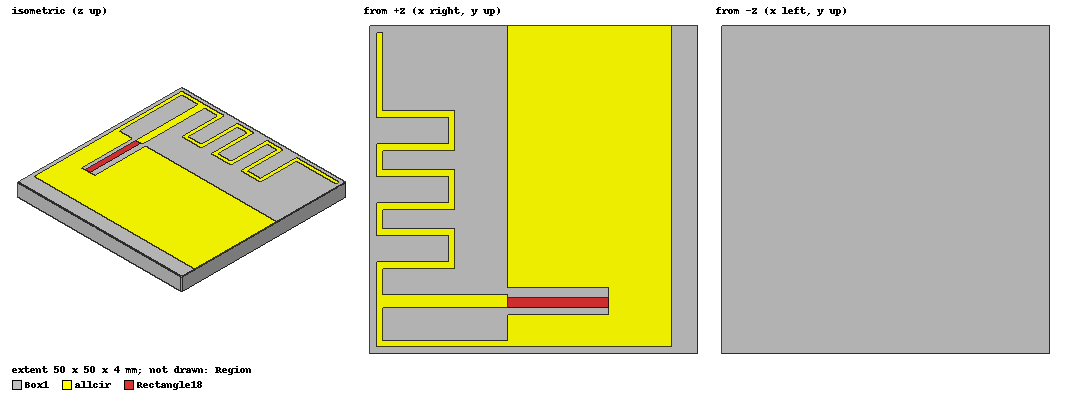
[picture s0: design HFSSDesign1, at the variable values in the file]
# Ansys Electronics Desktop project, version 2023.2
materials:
  vacuum: permittivity=1
  FR4_epoxy: permittivity=4.4 dielectric_loss_tangent=0.02
  air: permittivity=1.0006 permeability=1.0000004

design HFSSDesign1 (HFSS, HFSS Terminal Network, model units mm)
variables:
  W = 1mm
  l1 = 20mm
  l2 = 5mm
  w2 = 2mm
  l3 = 4mm
  l4 = 10mm
  l5 = 6mm
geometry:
  Rectangle1 = rectangle(corner=(0mm, 0mm, 0mm), x_size=l1, y_size=w)
  Rectangle2 = rectangle(corner=(0mm, 1mm, 0mm), x_size=w, y_size=l2)
  Rectangle3 = rectangle(corner=(0mm, 6mm, 0mm), x_size=l1, y_size=w2)
  Rectangle4 = rectangle(corner=(0mm, 8mm, 0mm), x_size=w, y_size=l3)
  Rectangle5 = rectangle(corner=(0mm, 12mm, 0mm), x_size=w+l4, y_size=w)
  Rectangle6 = rectangle(corner=(11mm, 12mm, 0mm), x_size=w, y_size=l5-w)
  Rectangle7 = rectangle(corner=(1mm, 17mm, 0mm), x_size=l4+w, y_size=w)
  Rectangle4.unite(Rectangle5, Rectangle6, Rectangle7)
  Rectangle8 = rectangle(corner=(0mm, 8mm, 0mm), x_size=w, y_size=l3)
  Rectangle9 = rectangle(corner=(0mm, 12mm, 0mm), x_size=w+l4, y_size=w)
  Rectangle10 = rectangle(corner=(11mm, 12mm, 0mm), x_size=w, y_size=l5-w)
  Rectangle11 = rectangle(corner=(1mm, 17mm, 0mm), x_size=l4+w, y_size=w)
  Rectangle8.unite(Rectangle9, Rectangle10, Rectangle11)
  Rectangle8.move(0mm, 9mm, 0mm)
  Rectangle12 = rectangle(corner=(0mm, 8mm, 0mm), x_size=w, y_size=l3)
  Rectangle13 = rectangle(corner=(0mm, 12mm, 0mm), x_size=w+l4, y_size=w)
  Rectangle14 = rectangle(corner=(11mm, 12mm, 0mm), x_size=w, y_size=l5-w)
  Rectangle15 = rectangle(corner=(1mm, 17mm, 0mm), x_size=l4+w, y_size=w)
  Rectangle12.unite(Rectangle13, Rectangle14, Rectangle15)
  Rectangle12.move(0mm, 18mm, 0mm)
  Rectangle16 = rectangle(corner=(0mm, 35mm, 0mm), x_size=w, y_size=13mm)
  Box1 [FR4_epoxy] = box(corner=(-1mm, -1mm, 0mm), size=(50mm, 50mm, -4mm))
  Rectangle4.unite(Rectangle8, Rectangle12, Rectangle16, Rectangle3, Rectangle2, Rectangle1)
  allcir = rectangle(corner=(20mm, 0mm, 0mm), x_size=25mm, y_size=49mm)
  Rectangle17 = rectangle(corner=(20mm, 5mm, 0mm), x_size=1.5mm, y_size=4mm)
  allcir.subtract(Rectangle17)
  allcir.unite(Rectangle4)
  Rectangle18 = rectangle(corner=(20mm, 6mm, 0mm), x_size=15.4661mm, y_size=1.479266mm)
  Region [air] = region(absolute_offset=10mm on all sides)
  Rectangle19 = rectangle(corner=(21.5mm, 5mm, 0mm), x_size=14mm, y_size=4mm)
  allcir.subtract(Rectangle19)
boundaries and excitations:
  Rad1: Radiation Objects=Region
  PerfE1: Perfect E Objects=allcir
  1: Lumped Port Objects=Rectangle18 LumpedPortType=Modal Modes{Mode1{IntLine{(27.73305, 6.739633, 0) -> (20, 6.739633, 0)} CharImp=Zpi}} Impedance=50ohm
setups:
  Setup1: HfssDriven Frequency=0.8GHz MaxDeltaS=0.02 MaximumPasses=6 MinimumPasses=1 MinimumConvergedPasses=1 PercentRefinement=30 BasisOrder=1 PortAccuracy=2 DrivenSolverType="Direct Solver"
    sweep Sweep: 0.4GHz to 2GHz, 401 points; Type=Interpolating InterpTolerance=0.5 InterpMaxSolns=250 PassivityErrorTolerance=0.0001
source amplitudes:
  1:1: 1V 0deg
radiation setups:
  Infinite Sphere1: Infinite Sphere Theta=0deg..360deg step 1deg Phi=0deg..180deg step 1deg
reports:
  Terminal S Parameter Plot 1: dB(St(1,1)) vs Freq on Setup1 : Sweep
  Terminal S Parameter Chart 1: St(1,1) on Setup1 : Sweep [Freq=all]

design Circuit1 (Circuit)
options: SParamCircuitDef IntegrationMethod=FFT
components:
  S3 = HFSSDesign2()
  U5 = Circuit2()
  port Port1 rz=50ohm iz=0ohm EnableNoise=false noisetemp=16.85cel
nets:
  net_1: S3.1, U5.1
  Port1: U5.0
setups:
  LinearFrequency: LinearFrequencyData(false, 0.1, false, "", false) SweepDefinition{Variable=Freq Data="LINC 0.4GHz 2.4GHz 400"}
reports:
  S Parameter Plot 1: dB(S(Port1,Port1)) vs Freq on LinearFrequency : LinearFrequency; markers m1 at 0.86616541GHz
  S Parameter Chart 1: S(Port1,Port1) on LinearFrequency : LinearFrequency [Freq=all]
  S-Parameters: S(Port1,Port1) on LinearFrequency : LinearFrequency [Freq=all]

design Circuit2 (Circuit)
options: SParamCircuitDef IntegrationMethod=FFT
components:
  C6 = CAP_(C=1.67pF)
  L7 = IND_(L=8.72nH)
  port Port1 rz=50ohm iz=0ohm EnableNoise=false noisetemp=16.85cel
  port Port2 rz=50ohm iz=0ohm EnableNoise=false noisetemp=16.85cel
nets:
  0: L7.1
  Port1: C6.0
  Port2: C6.1, L7.0
